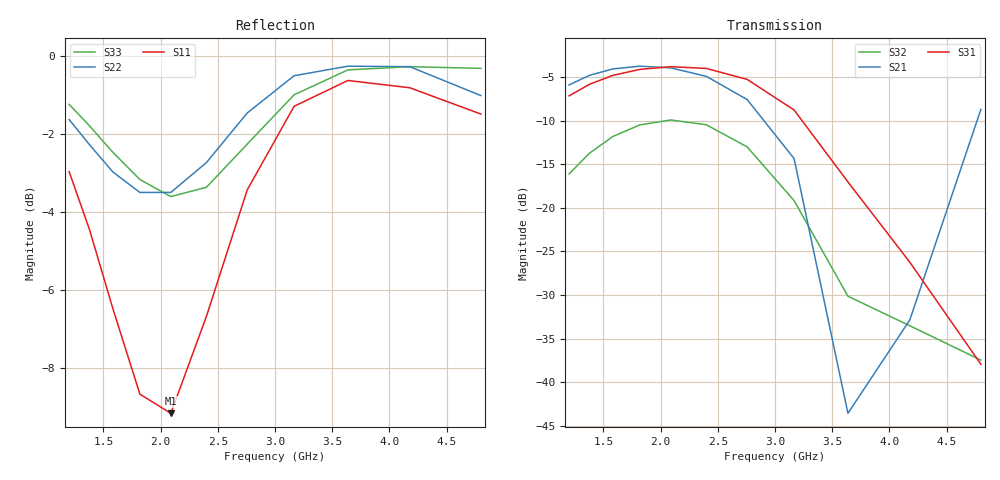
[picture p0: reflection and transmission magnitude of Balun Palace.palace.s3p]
! Generated by circuitRF - EM: Palace
! circuitRF-EM setup: Balun Palace
! circuitRF-EM layout: Balun.c3d
! circuitRF-EM written: 2026-11-16 00:13:27Z
! circuitRF-EM stamp: 20261116T001327Z-2b184adb
! circuitRF-EM geometry: a97f00cf55b97eb8
! circuitRF-EM mesh settings: 515b2f8e0db4c114
! circuitRF-EM ports: d404ed448d50c0b0
! circuitRF-EM model: Palace 0.18.1 (0dc74cd, schema 1-7-0)
! Port[1] = P1
! Port[2] = P2
! Port[3] = P3
! circuitRF-EM port 1: 'port/1' from 'U1/Bottom Copper (1 oz)/1' to 'U1/Top Copper (1 oz)/3', lumped, 50 Ohm
! circuitRF-EM port 2: 'port/2' from 'U1/Bottom Copper (1 oz)/1' to 'U1/Top Copper (1 oz)/1', lumped, 50 Ohm
! circuitRF-EM port 3: 'port/3' from 'U1/Bottom Copper (1 oz)/1' to 'U1/Top Copper (1 oz)/2', lumped, 50 Ohm
! Port 1 = P01  P1  net=?  ref=U1/Bottom Copper (1 oz)/1  uncalibrated
! Port 2 = P02  P2  net=?  ref=U1/Bottom Copper (1 oz)/1  uncalibrated
! Port 3 = P03  P3  net=?  ref=U1/Bottom Copper (1 oz)/1  uncalibrated
! DC: none, the lowest row is 1.2 GHz; a circuit's DC solve through this file takes that row as DC
! circuitRF-EM 3D mesh: 44,888 elements initially, 224,970 finally, 3 adaptive pass(es), element order 1
! circuitRF-EM 3D operating temperature: 20 C
! circuitRF-EM 3D run: preset Draft; 44888 -> 224970 tetrahedra; 212772 unknowns; 3 refinement pass(es); 5 frequency sample(s)
! circuitRF-EM 3D run cost: wall 381 s; Palace peak memory 6.0 GB
! circuitRF-EM: re-running the EM setup rewrites this file. If circuitRF reports it as stale, the layout's cross-section changed after this file was written.
# GHz S RI R 50
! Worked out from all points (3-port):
!   11 points, 1.2 GHz to 4.8 GHz, reference 50 ohm
!   strongest paths, dB at 1.2 GHz, 1.583 GHz, 2.4 GHz, 3.638 GHz, 4.8 GHz:
!     S31: -7.2, -4.8, -4.0, -17.0, -37.9
!     S21: -5.9, -4.1, -4.9, -43.6, -8.7
!     S32: -16.1, -11.8, -10.5, -30.1, -37.5
!   lowest |S11| = -9.2 dB at 2.089 GHz (marker M1), VSWR 2.07, Z = 57.1 - j39.1 ohm
!   |S11| at or under -10 dB: nowhere
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1.2  -0.3606 0.6134  -0.506 0.0247  0.4373 -0.033
     -0.506 0.0247  0.413 0.7197  -0.00598 0.1564
     0.4373 -0.033  -0.00598 0.1564  0.4431 0.746
1.583409  0.2949 0.3716  -0.3517 0.5177  0.2991 -0.491
          -0.3517 0.5177  0.6487 0.2899  0.2053 0.154
          0.2991 -0.491  0.2053 0.154  0.7086 0.2545
1.81886  0.3684 0.0187  -0.0345 0.6479  -0.00752 -0.6219
         -0.0345 0.6479  0.6673 0.0473  0.2985 0.0169
         -0.00752 -0.6219  0.2985 0.0169  0.6942 -0.0342
2.089321  0.176 -0.3009  0.3365 0.5379  -0.3852 -0.5167
          0.3365 0.5379  0.6344 -0.2128  0.2603 -0.1845
          -0.3852 -0.5167  0.2603 -0.1845  0.5883 -0.3011
2.4  -0.2521 -0.3893  0.5421 0.1667  -0.6167 -0.1277
     0.5421 0.1667  0.5008 -0.5319  0.0488 -0.2954
     -0.6167 -0.1277  0.0488 -0.2954  0.3978 -0.5507
2.756876  -0.6735 0.0234  0.3543 -0.2206  -0.4316 0.3324
          0.3543 -0.2206  0.0892 -0.8411  -0.1575 -0.1584
          -0.4316 0.3324  -0.1575 -0.1584  0.0315 -0.7709
3.166819  -0.3674 0.7806  0.00605 -0.1916  0.0266 0.3629
          0.00605 -0.1916  -0.6046 -0.7252  -0.1048 0.0338
          0.0266 0.3629  -0.1048 0.0338  -0.5787 -0.6794
3.63772  0.6977 0.6166  -0.000586 -0.00662  0.1283 0.058
         -0.000586 -0.00662  -0.9711 -0.0194  -0.00142 0.0311
         0.1283 0.058  -0.00142 0.0311  -0.9605 -0.0201
4.178643  0.3787 -0.8289  -0.00523 0.0222  -0.0236 0.0427
          -0.00523 0.0222  -0.6244 0.742  0.017 0.0125
          -0.0236 0.0427  0.017 0.0125  -0.6262 0.7405
4.8  -0.6917 0.4823  0.3523 0.1016  0.00661 0.0108
     0.3523 0.1016  0.2913 0.8415  0.0129 -0.00381
     0.00661 0.0108  0.0129 -0.00381  0.2724 0.9258
